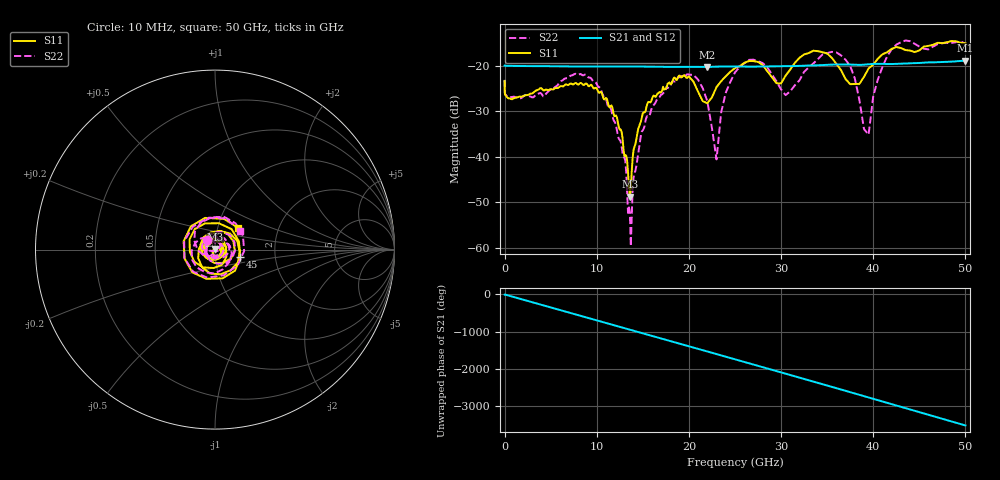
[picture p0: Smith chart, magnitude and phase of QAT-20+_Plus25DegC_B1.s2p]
!Keysight Technologies,N5245B,MY58422263,A.13.60.06
!Date: Tuesday, May 19, 2020 14:53:19
!Correction: S11(Full 2 Port(1,2))
!Board Loss Deducted
!S21(Full 2 Port(1,2))
!S12(Full 2 Port(1,2))
!S22(Full 2 Port(1,2))
!S2P File: Measurements: S11, S21, S12, S22:
# Hz S  dB  R 50
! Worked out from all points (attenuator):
!   269 points, 10 MHz to 50 GHz, reference 50 ohm
!   highest |S21| = -18.85 dB at 50 GHz (marker M1); lowest = -20.3 dB at 22 GHz (marker M2)
!   lowest |S11| = -48.8 dB at 13.6 GHz (marker M3), VSWR 1.01, Z = 49.9 + j0.355 ohm
!   |S11| at or under -10 dB: start of sweep to end of sweep
!   |S22| runs from -59.6 to -14.5 dB; largest |S21 - S12| = 0.00075
!   S11 on the Smith chart (normalised r, x): 10 MHz: 0.91, +0.09; 45 GHz: 1.32, -0.11; 50 GHz: 1.24, +0.32
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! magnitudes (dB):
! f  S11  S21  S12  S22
! 10 MHz  -23.4  -20.0  -20.0  -23.1
! 8.4 GHz  -23.9  -20.2  -20.2  -22.0
! 11.6 GHz  -28.7  -20.2  -20.2  -29.8
! 13.1 GHz  -39.7  -20.2  -20.2  -40.9
! 13.4 GHz  -43.4  -20.2  -20.2  -52.4
! 13.6 GHz  -48.8  -20.2  -20.2  -52.1
! 13.7 GHz  -47.2  -20.2  -20.2  -59.6
! 14 GHz  -38.5  -20.2  -20.2  -44.6
! 14.8 GHz  -32.2  -20.2  -20.2  -35.2
! 16.7 GHz  -26.0  -20.2  -20.2  -27.2
! 19.9 GHz  -22.5  -20.3  -20.3  -21.9
! 22 GHz  -28.2  -20.3  -20.3  -27.8
! 23 GHz  -24.7  -20.2  -20.2  -40.6
! 24 GHz  -22.3  -20.2  -20.2  -25.9
! 25.5 GHz  -20.1  -20.2  -20.2  -20.3
! 30.5 GHz  -22.2  -20.1  -20.1  -26.5
! 33.5 GHz  -16.7  -19.9  -19.9  -19.5
! 37 GHz  -22.9  -19.7  -19.7  -18.7
! 39.5 GHz  -20.6  -19.7  -19.7  -35.1
! 42 GHz  -16.3  -19.6  -19.6  -16.4
! 45 GHz  -16.6  -19.4  -19.4  -15.8
! 50 GHz  -15.1  -18.9  -18.9  -15.1
